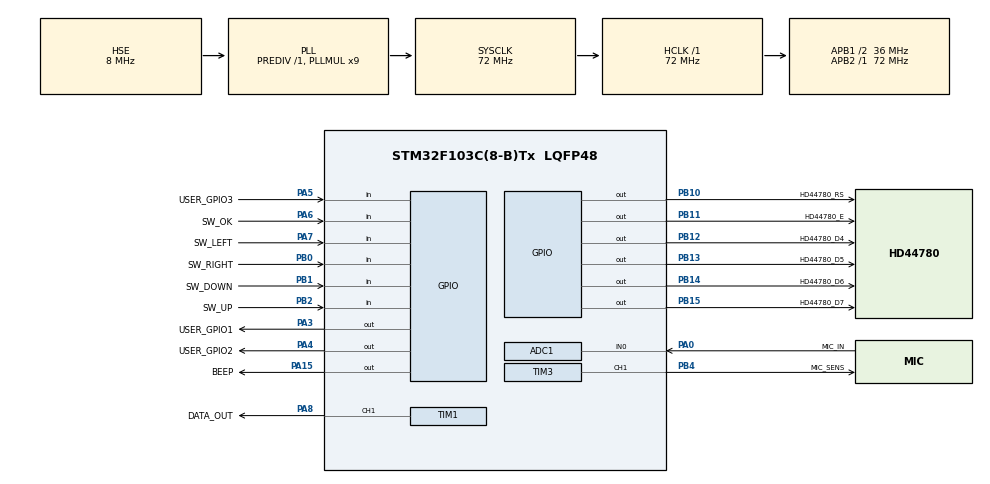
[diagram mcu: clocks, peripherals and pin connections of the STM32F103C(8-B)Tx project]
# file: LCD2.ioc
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ADC1.Channel-0\#ChannelRegularConversion=ADC_CHANNEL_0
ADC1.NbrOfConversionFlag=1
ADC1.Rank-0\#ChannelRegularConversion=1
ADC1.SamplingTime-0\#ChannelRegularConversion=ADC_SAMPLETIME_71CYCLES_5
ADC1.master=1
Dma.Request0=TIM1_CH1
Dma.TIM1_CH1.0.Direction=DMA_MEMORY_TO_PERIPH
Dma.TIM1_CH1.0.Instance=DMA1_Channel2
Dma.TIM1_CH1.0.MemDataAlignment=DMA_MDATAALIGN_BYTE
Dma.TIM1_CH1.0.MemInc=DMA_MINC_ENABLE
Dma.TIM1_CH1.0.Mode=DMA_NORMAL
Dma.TIM1_CH1.0.PeriphDataAlignment=DMA_PDATAALIGN_WORD
Dma.TIM1_CH1.0.PeriphInc=DMA_PINC_DISABLE
Dma.TIM1_CH1.0.Priority=DMA_PRIORITY_LOW
Mcu.Family=STM32F1
Mcu.Name=STM32F103C(8-B)Tx
Mcu.Package=LQFP48
NVIC.ADC1_2_IRQn=true\:0\:0\:false\:false\:true\:true\:true
NVIC.DMA1_Channel2_IRQn=true\:0\:0\:false\:false\:true\:false\:true
NVIC.PriorityGroup=NVIC_PRIORITYGROUP_4
PA0-WKUP.GPIO_Label=MIC_IN
PA0-WKUP.Signal=ADCx_IN0
PA13.Mode=Serial_Wire
PA13.Signal=SYS_JTMS-SWDIO
PA14.Mode=Serial_Wire
PA14.Signal=SYS_JTCK-SWCLK
PA15.GPIO_Label=BEEP
PA15.Signal=GPIO_Output
PA3.GPIO_Label=USER_GPIO1
PA3.Signal=GPIO_Output
PA4.GPIO_Label=USER_GPIO2
PA4.Signal=GPIO_Output
PA5.GPIO_Label=USER_GPIO3
PA5.GPIO_PuPd=GPIO_PULLUP
PA5.Signal=GPIO_Input
PA6.GPIO_Label=SW_OK
PA6.GPIO_PuPd=GPIO_PULLUP
PA6.Signal=GPIO_Input
PA7.GPIO_Label=SW_LEFT
PA7.GPIO_PuPd=GPIO_PULLUP
PA7.Signal=GPIO_Input
PA8.GPIO_Label=DATA_OUT
PA8.Signal=S_TIM1_CH1
PB0.GPIO_Label=SW_RIGHT
PB0.GPIO_PuPd=GPIO_PULLUP
PB0.Signal=GPIO_Input
PB1.GPIO_Label=SW_DOWN
PB1.GPIO_PuPd=GPIO_PULLUP
PB1.Signal=GPIO_Input
PB10.GPIO_Label=HD44780_RS
PB10.Signal=GPIO_Output
PB11.GPIO_Label=HD44780_E
PB11.Signal=GPIO_Output
PB12.GPIO_Label=HD44780_D4
PB12.Signal=GPIO_Output
PB13.GPIO_Label=HD44780_D5
PB13.Signal=GPIO_Output
PB14.GPIO_Label=HD44780_D6
PB14.Signal=GPIO_Output
PB15.GPIO_Label=HD44780_D7
PB15.Signal=GPIO_Output
PB2.GPIO_Label=SW_UP
PB2.GPIO_PuPd=GPIO_PULLUP
PB2.Signal=GPIO_Input
PB4.GPIO_Label=MIC_SENS
PB4.Signal=S_TIM3_CH1
PC14-OSC32_IN.Mode=LSE-External-Oscillator
PC14-OSC32_IN.Signal=RCC_OSC32_IN
PC15-OSC32_OUT.Mode=LSE-External-Oscillator
PC15-OSC32_OUT.Signal=RCC_OSC32_OUT
PD0-OSC_IN.Mode=HSE-External-Oscillator
PD0-OSC_IN.Signal=RCC_OSC_IN
PD1-OSC_OUT.Mode=HSE-External-Oscillator
PD1-OSC_OUT.Signal=RCC_OSC_OUT
ProjectManager.HeapSize=0x400
ProjectManager.StackSize=0x800
ProjectManager.TargetToolchain=TrueSTUDIO
RCC.ADCPresc=RCC_ADCPCLK2_DIV6
RCC.AHBFreq_Value=72000000
RCC.APB1CLKDivider=RCC_HCLK_DIV2
RCC.APB1Freq_Value=36000000
RCC.APB1TimFreq_Value=72000000
RCC.APB2Freq_Value=72000000
RCC.APB2TimFreq_Value=72000000
RCC.HCLKFreq_Value=72000000
RCC.PLLMUL=RCC_PLL_MUL9
RCC.PLLSourceVirtual=RCC_PLLSOURCE_HSE
RCC.SYSCLKFreq_VALUE=72000000
RCC.SYSCLKSource=RCC_SYSCLKSOURCE_PLLCLK
RCC.USBFreq_Value=72000000
SH.ADCx_IN0.0=ADC1_IN0,IN0
SH.S_TIM1_CH1.0=TIM1_CH1,PWM Generation1 CH1
SH.S_TIM3_CH1.0=TIM3_CH1,PWM Generation1 CH1
TIM1.Channel-PWM\ Generation1\ CH1=TIM_CHANNEL_1
TIM1.Period=90
TIM2.Period=3599
TIM3.Channel-PWM\ Generation1\ CH1=TIM_CHANNEL_1
VP_TIM1_VS_ClockSourceINT.Mode=Internal
VP_TIM2_VS_ClockSourceINT.Mode=Internal
VP_TIM3_VS_ClockSourceINT.Mode=Internal
board=LCD2

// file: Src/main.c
/* USER CODE BEGIN Header */
/**
 ******************************************************************************
 * @file           : main.c
 * @brief          : Main program body
 ******************************************************************************
 * @attention
 *
 * <h2><center>&copy; Copyright (c) 2020 STMicroelectronics.
 * All rights reserved.</center></h2>
 *
 * This software component is licensed by ST under BSD 3-Clause license,
 * the "License"; You may not use this file except in compliance with the
 * License. You may obtain a copy of the License at:
 *                        opensource.org/licenses/BSD-3-Clause
 *
 ******************************************************************************
 */
/* USER CODE END Header */

#include "main.h"
#include "adc.h"
#include "dma.h"
#include "tim.h"
#include "gpio.h"

/* USER CODE BEGIN Includes */
#include "CContext.h"
#include "CPatternPar.h"
#include "CLedPatternRainbow.h"
#include "CLEDPatternFlipColor.h"
/* USER CODE END Includes */

/* USER CODE BEGIN PTD */
 //
/* USER CODE END PTD */

/* USER CODE BEGIN PV */
/* Private variables ---------------------------------------------------------*/
void HAL_ADC_ConvCpltCallback(ADC_HandleTypeDef* hadc)
{
	gAdcValueRaw = HAL_ADC_GetValue(hadc);
	AdcSetValue(gAdcValueRaw);
	HAL_ADC_Start_IT(hadc);
}
/* USER CODE END PV */

void SystemClock_Config(void);
/* USER CODE BEGIN PFP */
/* Private function prototypes -----------------------------------------------*/

/* USER CODE END PFP */

/* USER CODE BEGIN 0 */

//void Process()
//{
//	switch (gCurMenu)
//	{
//	case 1:
//		PlayRainbow();
//		break;
//	case 2:
//		PlaySlowMotion3();
//		break;
//	case 3:
//		PlayFlipColor();
//		break;
//	case 4:
//		PlayColorToneYellow();
//		break;
//	case 5:
//		PlayColorTonePink();
//		break;
//	case 6:
//		PlayColorToneSkyBlue();
//		break;
//	case 7:
//		PlayColorToneRed();
//		break;
//	case 8:
//		PlayColorToneGreen();
//		break;
//	case 9:
//		PlayColorToneBlue();
//		break;
//	case 10:
//		PlayBeatMulti2();
//		break;
//	default:
//		break;
//	}
//}

/* USER CODE END 0 */

int main(void)
{

	/* MCU Configuration--------------------------------------------------------*/

	/* Reset of all peripherals, Initializes the Flash interface and the Systick. */
	HAL_Init();

	/* Configure the system clock */
	SystemClock_Config();

	/* USER CODE BEGIN SysInit */
//
	/* USER CODE END SysInit */

	/* Initialize all configured peripherals */
	MX_GPIO_Init();
	MX_DMA_Init();
	MX_TIM1_Init();
	MX_ADC1_Init();
	MX_TIM2_Init();
	MX_TIM3_Init();
	/* USER CODE BEGIN 2 */
	__NOP();
	WSHardwareInit();
	FlipColorTableInit();
	asm("NOP");
	ContextInit();
	FillColor(Set_Val(0), Set_Val(0), Set_Val(0));
	SendLedData();
	asm("NOP");
	FillColor(Set_Val(255), Set_Val(0), Set_Val(0));
	SendLedData();
	asm("NOP");
	FillColor(Set_Val(0), Set_Val(255), Set_Val(0));
	SendLedData();
	asm("NOP");
	FillColor(Set_Val(0), Set_Val(0), Set_Val(255));
	SendLedData();
	asm("NOP");
	FillColor(Set_Val(0), Set_Val(0), Set_Val(0));
	SendLedData();
	asm("NOP");

	/* USER CODE END 2 */

	/* Infinite loop */
	while (1)
	{

		/* USER CODE BEGIN 3 */

		ProcesskeysUpDown();

		if (gCurMenu == 1)
		{
			PlayRainbow2();
			continue;
		}
		else if (gCurMenu == 2)
		{
			PlaySlowMotion3();
			continue;
		}
		else if (gCurMenu == 3)
		{
			PlayFlipColor();
			continue;
		}
		else if (gCurMenu == 4)
		{
			PlayBeatMulti2();
			continue;
		}
		else if (gCurMenu == 5)
		{
			PlayColorToneYellow();
			continue;
		}
		else if (gCurMenu == 6)
		{
			PlayColorTonePink();
			continue;
		}
		else if (gCurMenu == 7)
		{
			PlayColorToneSkyBlue();
			continue;
		}
		else if (gCurMenu == 8)
		{
			PlayColorToneRed();
			continue;
		}
		else if (gCurMenu == 9)
		{
			PlayColorToneGreen();
			continue;
		}
		else if (gCurMenu == 10)
		{
			PlayColorToneBlue();
			continue;
		}
	}
	/* USER CODE END 3 */
}

void SystemClock_Config(void)
{
	RCC_OscInitTypeDef RCC_OscInitStruct =
	{ 0 };
	RCC_ClkInitTypeDef RCC_ClkInitStruct =
	{ 0 };
	RCC_PeriphCLKInitTypeDef PeriphClkInit =
	{ 0 };

	/** Initializes the CPU, AHB and APB busses clocks
	 */
	RCC_OscInitStruct.OscillatorType = RCC_OSCILLATORTYPE_HSE;
	RCC_OscInitStruct.HSEState = RCC_HSE_ON;
	RCC_OscInitStruct.HSEPredivValue = RCC_HSE_PREDIV_DIV1;
	RCC_OscInitStruct.HSIState = RCC_HSI_ON;
	RCC_OscInitStruct.PLL.PLLState = RCC_PLL_ON;
	RCC_OscInitStruct.PLL.PLLSource = RCC_PLLSOURCE_HSE;
	RCC_OscInitStruct.PLL.PLLMUL = RCC_PLL_MUL9;
	if (HAL_RCC_OscConfig(&RCC_OscInitStruct) != HAL_OK)
	{
		Error_Handler();
	}
	/** Initializes the CPU, AHB and APB busses clocks
	 */
	RCC_ClkInitStruct.ClockType = RCC_CLOCKTYPE_HCLK | RCC_CLOCKTYPE_SYSCLK
			| RCC_CLOCKTYPE_PCLK1 | RCC_CLOCKTYPE_PCLK2;
	RCC_ClkInitStruct.SYSCLKSource = RCC_SYSCLKSOURCE_PLLCLK;
	RCC_ClkInitStruct.AHBCLKDivider = RCC_SYSCLK_DIV1;
	RCC_ClkInitStruct.APB1CLKDivider = RCC_HCLK_DIV2;
	RCC_ClkInitStruct.APB2CLKDivider = RCC_HCLK_DIV1;

	if (HAL_RCC_ClockConfig(&RCC_ClkInitStruct, FLASH_LATENCY_2) != HAL_OK)
	{
		Error_Handler();
	}
	PeriphClkInit.PeriphClockSelection = RCC_PERIPHCLK_ADC;
	PeriphClkInit.AdcClockSelection = RCC_ADCPCLK2_DIV6;
	if (HAL_RCCEx_PeriphCLKConfig(&PeriphClkInit) != HAL_OK)
	{
		Error_Handler();
	}
}

void Error_Handler(void)
{
	while (1)
	{
	}
}

/************************ (C) COPYRIGHT STMicroelectronics *****END OF FILE****/
